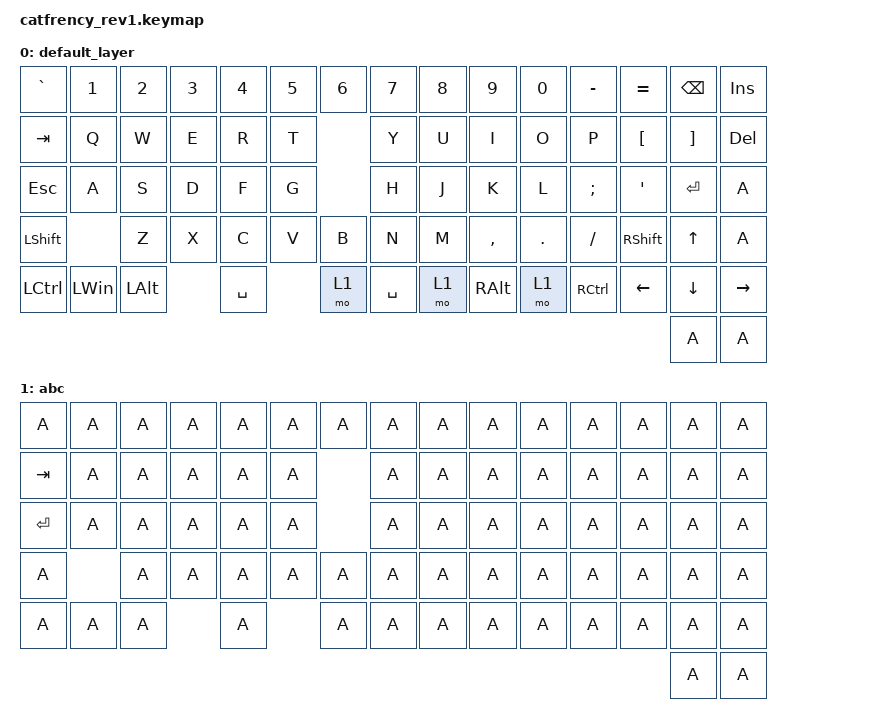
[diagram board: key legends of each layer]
// This file was generated from a template. Edit it to match your keyboard.
// See https://zmk.dev/docs/development/hardware-integration/new-shield for more instructions.

#include <behaviors.dtsi>
#include <dt-bindings/zmk/keys.h>

/ {
    // Define a default keymap here.
    // See https://zmk.dev/docs/development/hardware-integration/new-shield#default-keymap.
    keymap {
        compatible = "zmk,keymap";

        default_layer {

            bindings = <
                &kp GRAVE    &kp N1     &kp N2     &kp N3  &kp N4  &kp N5  &kp N6         &kp N7      &kp N8     &kp N9      &kp N0       &kp MINUS       &kp EQUAL         &kp BACKSPACE      &kp INSERT    
                &kp TAB      &kp Q      &kp W      &kp E   &kp R   &kp T                  &kp Y       &kp U      &kp I       &kp O        &kp P           &kp LEFT_BRACKET  &kp RIGHT_BRACKET  &kp DELETE   
                &kp ESC      &kp A      &kp S      &kp D   &kp F   &kp G                  &kp H       &kp J      &kp K       &kp L        &kp SEMICOLON   &kp SINGLE_QUOTE  &kp RET            &kp A   
                &kp LSHIFT              &kp Z      &kp X   &kp C   &kp V   &kp B          &kp N       &kp M      &kp COMMA   &kp PERIOD   &kp SLASH       &kp RSHIFT        &kp UP_ARROW       &kp A    
                &kp LCTRL    &kp LWIN   &kp LALT           &kp SPACE       &mo 1          &kp SPACE   &mo 1      &kp RALT    &mo 1        &kp RCTRL       &kp LEFT_ARROW    &kp DOWN_ARROW     &kp RIGHT_ARROW    
                                                                                                                                                                            &kp A              &kp A   
            >;    
        };  
        
        abc {

            bindings = <
                &kp A   &kp A   &kp A   &kp A   &kp A   &kp A   &kp A        &kp A   &kp A   &kp A   &kp A   &kp A   &kp A   &kp A   &kp A     
                &kp TAB &kp A   &kp A   &kp A   &kp A   &kp A                &kp A   &kp A   &kp A   &kp A   &kp A   &kp A   &kp A   &kp A    
                &kp RET &kp A   &kp A   &kp A   &kp A   &kp A                &kp A   &kp A   &kp A   &kp A   &kp A   &kp A   &kp A   &kp A   
                &kp A           &kp A   &kp A   &kp A   &kp A   &kp A        &kp A   &kp A   &kp A   &kp A   &kp A   &kp A   &kp A   &kp A    
                &kp A   &kp A   &kp A           &kp A           &kp A        &kp A   &kp A   &kp A   &kp A   &kp A   &kp A   &kp A   &kp A    
                                                                                                                                    &kp A   &kp A   
            >;
        };
    };
};
